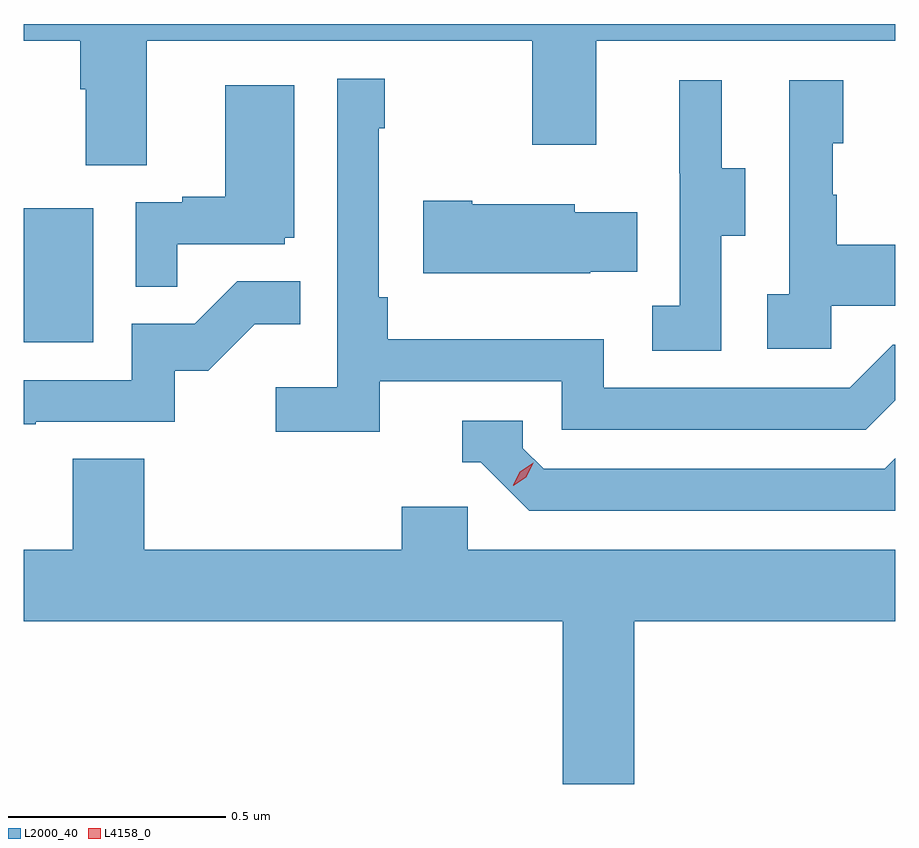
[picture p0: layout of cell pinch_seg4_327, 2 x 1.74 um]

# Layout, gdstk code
import gdstk
lib = gdstk.Library(unit=1e-6, precision=1e-09)
def R(c, l, rs):  # rectangles x0, y0, x1, y1
    for r in rs: c.add(gdstk.rectangle(r[:2], r[2:], *l))
def P(c, l, *ps):  # polygons
    for p in ps: c.add(gdstk.Polygon(p, *l))
L2000_40 = (2000, 40)
L4158_0 = (4158, 0)

pinch_seg4_327 = lib.new_cell('pinch_seg4_327')
R(pinch_seg4_327, L2000_40, [(919.015,794.796,919.174,795.103)])
P(pinch_seg4_327, L2000_40, [(919.297,795.488),(920.182,795.488),(920.182,795.249),(920.329,795.249),(920.329,795.488),(921.015,795.488),(921.015,795.526),(919.015,795.526),(919.015,795.488),(919.145,795.488),(919.145,795.376),(919.157,795.376),(919.157,795.202),(919.297,795.202)],
  [(919.832,794.706),(920.25,794.706),(920.25,794.595),(920.947,794.595),(921.015,794.663),(921.015,794.79),(921.009,794.79),(920.91,794.691),(920.346,794.691),(920.346,794.803),(919.85,794.803),(919.85,794.899),(919.83,794.899),(919.83,795.287),(919.843,795.287),(919.843,795.4),(919.734,795.4),(919.734,794.692),(919.593,794.692),(919.593,794.59),(919.832,794.59)],
  [(920.616,795.04),(920.671,795.04),(920.671,795.195),(920.617,795.195),(920.617,795.397),(920.519,795.397),(920.519,795.183),(920.52,795.183),(920.52,794.879),(920.457,794.879),(920.457,794.776),(920.616,794.776)],
  [(920.868,794.879),(921.015,794.879),(921.015,795.019),(920.881,795.019),(920.881,795.134),(920.871,795.134),(920.871,795.252),(920.896,795.252),(920.896,795.397),(920.772,795.397),(920.772,794.906),(920.721,794.906),(920.721,794.781),(920.868,794.781)],
  [(919.367,795.021),(919.614,795.021),(919.614,795.036),(919.636,795.036),(919.636,795.385),(919.478,795.385),(919.478,795.13),(919.379,795.13),(919.379,795.117),(919.272,795.117),(919.272,794.923),(919.367,794.923)],
  [(920.315,794.957),(920.423,794.957),(920.423,795.094),(920.28,795.094),(920.28,795.112),(920.044,795.112),(920.044,795.12),(919.932,795.12),(919.932,794.954),(920.315,794.954)],
  [(919.043,794.613),(919.362,794.613),(919.362,794.73),(919.438,794.73),(919.545,794.837),(919.649,794.837),(919.649,794.936),(919.505,794.936),(919.407,794.838),(919.263,794.838),(919.263,794.709),(919.015,794.709),(919.015,794.608),(919.043,794.608)],
  [(921.015,794.529),(920.991,794.505),(920.208,794.505),(920.16,794.553),(920.16,794.616),(920.021,794.616),(920.021,794.52),(920.064,794.52),(920.175,794.409),(921.015,794.409)],
  [(920.416,794.156),(921.015,794.156),(921.015,794.32),(920.034,794.32),(920.034,794.418),(919.883,794.418),(919.883,794.32),(919.292,794.32),(919.292,794.528),(919.127,794.528),(919.127,794.32),(919.015,794.32),(919.015,794.156),(920.252,794.156),(920.252,793.782),(920.416,793.782)])
P(pinch_seg4_327, L4158_0, [(920.138,794.466),(920.138,794.467),(920.153,794.499),(920.184,794.519),(920.184,794.519),(920.184,794.519),(920.168,794.486),(920.138,794.466)])

lib.write_gds('pinch_seg4_327.gds')
